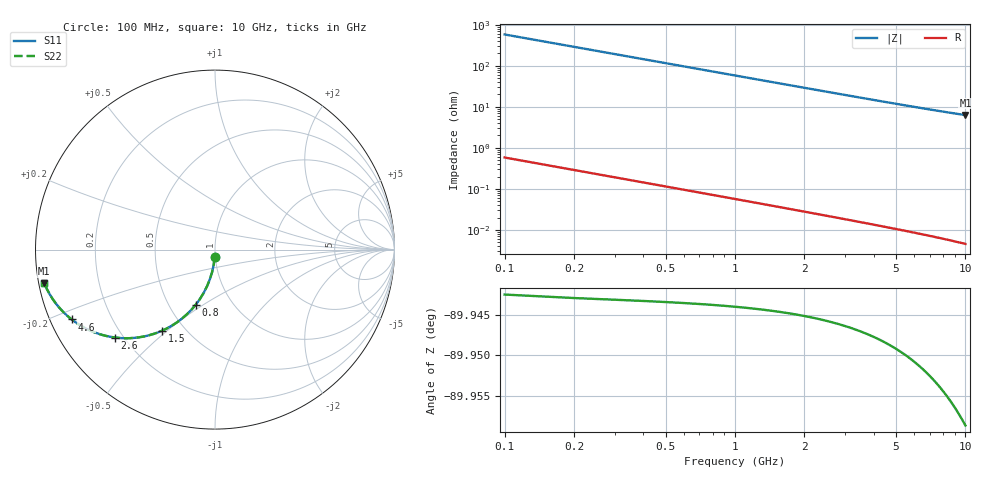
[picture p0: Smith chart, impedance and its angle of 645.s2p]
# Hz S RI R 50.00
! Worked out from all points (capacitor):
!   100 points, 100 MHz to 10 GHz, reference 50 ohm
!   read as one part in shunt: C = 2.75 pF near 100 MHz
!   lowest |Z| = 6.29 ohm at 10 GHz (marker M1)
!   S11 on the Smith chart (normalised r, x): 100 MHz: 0.99, -0.09; 800 MHz: 0.68, -0.46; 1.5 GHz: 0.38, -0.48; 2.6 GHz: 0.17, -0.37; 4.6 GHz: 0.06, -0.23; 10 GHz: 0.02, -0.10
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1e8  -0.00184 -0.0428  0.998 -0.0433  0.998 -0.0433  -0.00184 -0.0428
2e8  -0.00741 -0.0851  0.9925 -0.0861  0.9925 -0.0861  -0.00741 -0.0851
3e8  -0.0165 -0.1265  0.9834 -0.1279  0.9834 -0.1279  -0.0165 -0.1265
4e8  -0.029 -0.1665  0.9709 -0.1684  0.9709 -0.1684  -0.029 -0.1665
5e8  -0.0446 -0.2048  0.9553 -0.2072  0.9553 -0.2072  -0.0446 -0.2048
6e8  -0.0629 -0.2409  0.937 -0.2439  0.937 -0.2439  -0.0629 -0.2409
8e8  -0.1065 -0.3062  0.8933 -0.3101  0.8933 -0.3101  -0.1065 -0.3062
9e8  -0.1311 -0.3349  0.8688 -0.3393  0.8688 -0.3393  -0.1311 -0.3349
1.1e9  -0.1839 -0.3843  0.816 -0.3896  0.816 -0.3896  -0.1839 -0.3843
1.3e9  -0.2393 -0.4231  0.7605 -0.4294  0.7605 -0.4294  -0.2393 -0.4231
1.5e9  -0.2952 -0.452  0.7047 -0.4593  0.7047 -0.4593  -0.2952 -0.452
1.8e9  -0.3762 -0.4796  0.6237 -0.4883  0.6237 -0.4883  -0.3762 -0.4796
2.2e9  -0.4739 -0.4935  0.5259 -0.5042  0.5259 -0.5042  -0.4739 -0.4935
2.6e9  -0.5573 -0.4898  0.4425 -0.5025  0.4425 -0.5025  -0.5573 -0.4898
3e9  -0.6264 -0.4759  0.3734 -0.4906  0.3734 -0.4906  -0.6264 -0.4759
3.4e9  -0.683 -0.4564  0.3167 -0.4731  0.3167 -0.4731  -0.683 -0.4564
4e9  -0.7492 -0.423  0.2505 -0.4427  0.2505 -0.4427  -0.7492 -0.423
4.6e9  -0.7983 -0.3892  0.2013 -0.412  0.2013 -0.412  -0.7983 -0.3892
5.1e9  -0.8298 -0.3624  0.1698 -0.3878  0.1698 -0.3878  -0.8298 -0.3624
6.7e9  -0.8945 -0.2893  0.1048 -0.3232  0.1048 -0.3232  -0.8945 -0.2893
8.4e9  -0.9309 -0.2306  0.0681 -0.2738  0.0681 -0.2738  -0.9309 -0.2306
1e10  -0.9507 -0.1881  0.0478 -0.2405  0.0478 -0.2405  -0.9507 -0.1881
